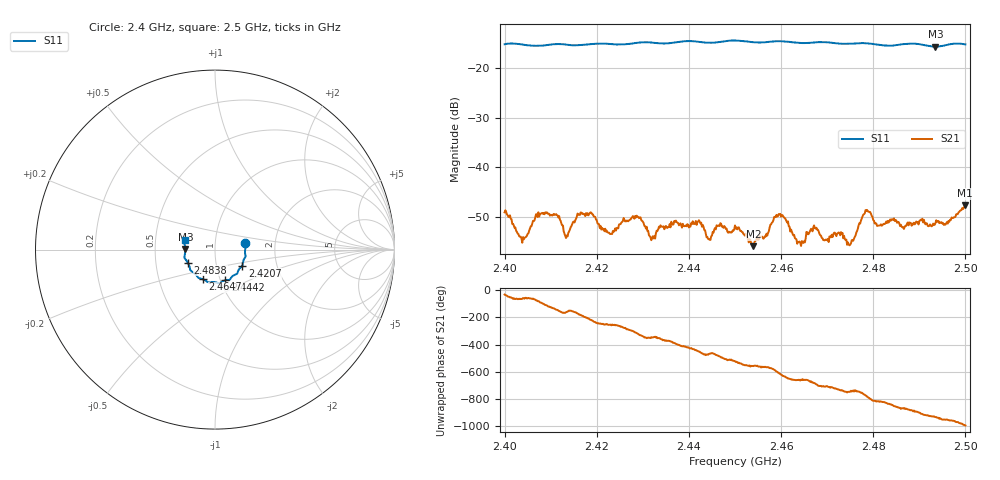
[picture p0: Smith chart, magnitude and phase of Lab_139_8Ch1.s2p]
# Hz S RI R 50
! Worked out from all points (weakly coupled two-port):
!   601 points, 2.4 GHz to 2.5 GHz, reference 50 ohm
!   highest |S21| = -47.75 dB at 2.4998 GHz (marker M1); lowest = -56.0 dB at 2.454 GHz (marker M2)
!   lowest |S11| = -15.7 dB at 2.4935 GHz (marker M3), VSWR 1.39, Z = 35.9 + j0.13 ohm
!   |S11| at or under -10 dB: start of sweep to end of sweep
!   S12 and S22 are empty: the file has one direction only
!   S11 on the Smith chart (normalised r, x): 2.4 GHz: 1.40, +0.11; 2.4207 GHz: 1.33, -0.24; 2.4442 GHz: 1.06, -0.37; 2.4647 GHz: 0.83, -0.28; 2.4838 GHz: 0.73, -0.11; 2.5 GHz: 0.71, +0.08
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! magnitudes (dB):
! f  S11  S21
! 2.4 GHz  -15.2  -49.2
! 2.404 GHz  -15.3  -54.1
! 2.4073 GHz  -15.5  -49.1
! 2.4113 GHz  -15.2  -49.7
! 2.4135 GHz  -15.3  -53.8
! 2.4167 GHz  -15.3  -49.2
! 2.4207 GHz  -15.1  -52.4
! 2.4333 GHz  -15.0  -52.6
! 2.442 GHz  -14.7  -51.0
! 2.4442 GHz  -14.9  -54.5
! 2.45 GHz  -14.4  -51.8
! 2.454 GHz  -14.8  -56.0
! 2.4598 GHz  -14.6  -49.5
! 2.4647 GHz  -15.0  -55.1
! 2.4667 GHz  -14.9  -52.7
! 2.4748 GHz  -15.1  -55.8
! 2.4785 GHz  -15.0  -48.9
! 2.4833 GHz  -15.5  -51.2
! 2.4838 GHz  -15.5  -50.8
! 2.4935 GHz  -15.7  -51.3
! 2.4998 GHz  -15.2  -47.8
! 2.5 GHz  -15.2  -48.0
